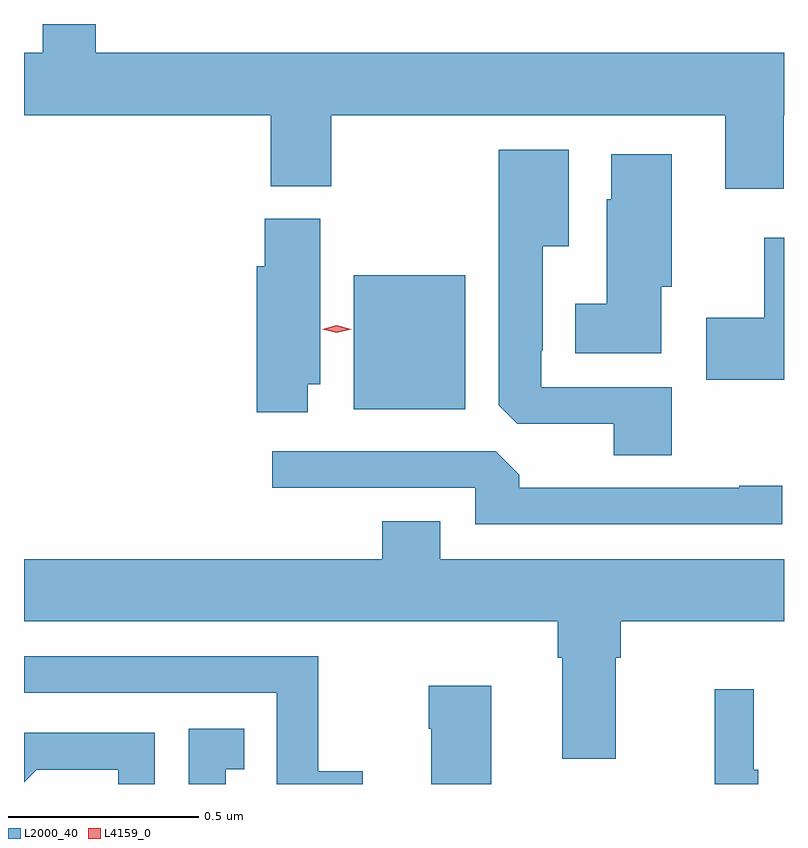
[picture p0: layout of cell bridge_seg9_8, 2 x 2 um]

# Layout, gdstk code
import gdstk
lib = gdstk.Library(unit=1e-6, precision=1e-09)
def R(c, l, rs):  # rectangles x0, y0, x1, y1
    for r in rs: c.add(gdstk.rectangle(r[:2], r[2:], *l))
def P(c, l, *ps):  # polygons
    for p in ps: c.add(gdstk.Polygon(p, *l))
L2000_40 = (2000, 40)
L4159_0 = (4159, 0)

bridge_seg9_8 = lib.new_cell('bridge_seg9_8')
R(bridge_seg9_8, L2000_40, [(1022.504,1243.598,1022.797,1243.951)])
P(bridge_seg9_8, L2000_40, [(1023.635,1244.372),(1023.636,1244.372),(1023.636,1244.536),(1021.825,1244.536),(1021.825,1244.612),(1021.685,1244.612),(1021.685,1244.536),(1021.636,1244.536),(1021.636,1244.372),(1022.285,1244.372),(1022.285,1244.185),(1022.445,1244.185),(1022.445,1244.372),(1023.482,1244.372),(1023.482,1244.178),(1023.635,1244.178)],
  [(1023.341,1243.656),(1022.997,1243.656),(1022.997,1243.753),(1023.001,1243.753),(1023.001,1244.027),(1023.07,1244.027),(1023.07,1244.281),(1022.885,1244.281),(1022.885,1243.609),(1022.934,1243.56),(1023.188,1243.56),(1023.188,1243.477),(1023.341,1243.477)],
  [(1023.313,1243.92),(1023.34,1243.92),(1023.34,1244.269),(1023.182,1244.269),(1023.182,1244.151),(1023.17,1244.151),(1023.17,1243.876),(1023.086,1243.876),(1023.086,1243.745),(1023.313,1243.745)],
  [(1022.383,1243.664),(1022.416,1243.664),(1022.416,1244.1),(1022.27,1244.1),(1022.27,1243.974),(1022.249,1243.974),(1022.249,1243.59),(1022.383,1243.59)],
  [(1023.636,1244.05),(1023.584,1244.05),(1023.584,1243.839),(1023.432,1243.839),(1023.432,1243.676),(1023.636,1243.676)],
  [(1023.631,1243.397),(1023.518,1243.397),(1023.518,1243.392),(1022.939,1243.392),(1022.939,1243.426),(1022.877,1243.488),(1022.289,1243.488),(1022.289,1243.392),(1022.823,1243.392),(1022.823,1243.296),(1023.631,1243.296)],
  [(1023.193,1242.944),(1023.206,1242.944),(1023.206,1243.04),(1023.636,1243.04),(1023.636,1243.204),(1022.731,1243.204),(1022.731,1243.303),(1022.579,1243.303),(1022.579,1243.204),(1021.636,1243.204),(1021.636,1243.04),(1023.041,1243.04),(1023.041,1242.944),(1023.053,1242.944),(1023.053,1242.678),(1023.193,1242.678)],
  [(1022.528,1242.646),(1022.41,1242.646),(1022.41,1242.948),(1021.636,1242.948),(1021.636,1242.852),(1022.301,1242.852),(1022.301,1242.612),(1022.528,1242.612)],
  [(1022.866,1242.871),(1022.701,1242.871),(1022.701,1242.758),(1022.708,1242.758),(1022.708,1242.612),(1022.866,1242.612)],
  [(1023.568,1242.649),(1023.557,1242.649),(1023.557,1242.862),(1023.454,1242.862),(1023.454,1242.612),(1023.568,1242.612)],
  [(1022.167,1242.651),(1022.216,1242.651),(1022.216,1242.757),(1022.07,1242.757),(1022.07,1242.612),(1022.167,1242.612)],
  [(1021.98,1242.747),(1021.636,1242.747),(1021.636,1242.616),(1021.67,1242.65),(1021.884,1242.65),(1021.884,1242.612),(1021.98,1242.612)])
P(bridge_seg9_8, L4159_0, [(1022.459,1243.799),(1022.421,1243.809),(1022.421,1243.809),(1022.421,1243.809),(1022.459,1243.819),(1022.497,1243.809),(1022.497,1243.809),(1022.497,1243.809)])

lib.write_gds('bridge_seg9_8.gds')
